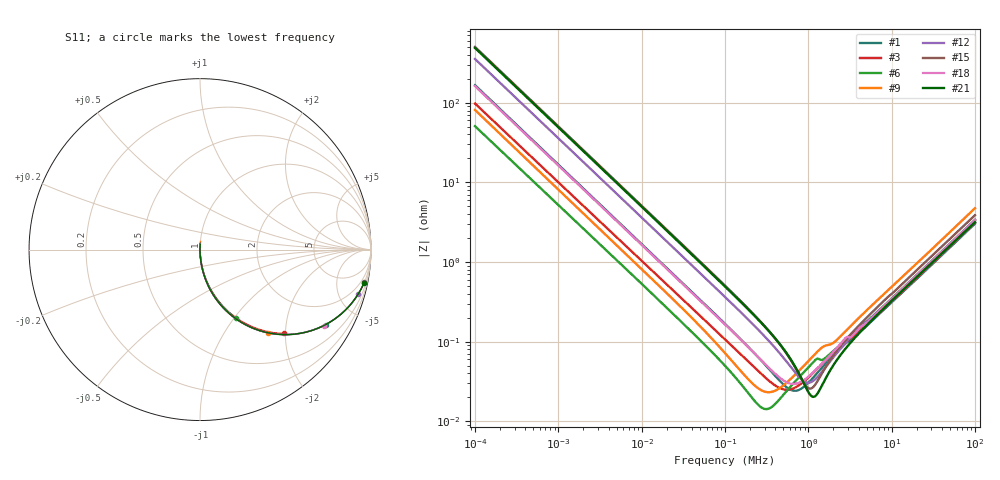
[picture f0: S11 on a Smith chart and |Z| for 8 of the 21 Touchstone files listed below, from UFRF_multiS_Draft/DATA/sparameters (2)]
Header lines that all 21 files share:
!These Parameters are Measured in Series Mode Connection
!  o--ll--o
!Port1  Port2
!  o------o
!Operation Temp=25[degC], DC Bias Voltage=0[V]
!Freq. Start=100[Hz] Stop=100[MHz], 401[Steps]
# Hz S RI R 50
!Freq.(Hz) S11(Real) S11(Imag) S21(Real) S21(Imag) S12(Real) S12(Imag) S22(Real) S22(Imag)
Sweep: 100 Hz to 100 MHz
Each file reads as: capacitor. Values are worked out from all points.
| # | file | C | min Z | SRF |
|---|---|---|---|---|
| 1 | RDEC71E106K2S1H03A_DC0V_25degC_series.s2p | 9.54 uF | 24.3 mohm | 696 kHz |
| 2 | RDEC71E226K3K1H03B_DC0V_25degC_series.s2p | 16.2 uF | 29.9 mohm | 535.2 kHz |
| 3 | RDEC71E226K3P1H03B_DC0V_25degC_series.s2p | 16.2 uF | 25 mohm | 553.7 kHz |
| 4 | RDEC71E475K2K1H03B_DC0V_25degC_series.s2p | 4.53 uF | 31.8 mohm | 976.1 kHz |
| 5 | RDEC71E475K2P1H03B_DC0V_25degC_series.s2p | 4.53 uF | 25.9 mohm | 1.028 MHz |
| 6 | RDEC71E476MWK1H03B_DC0V_25degC_series.s2p | 31.2 uF | 14.3 mohm | 322.9 kHz |
| 7 | RDEC71H106K3K1H03B_DC0V_25degC_series.s2p | 9.43 uF | 29.6 mohm | 676 kHz |
| 8 | RDEC71H106K3P1H03B_DC0V_25degC_series.s2p | 9.43 uF | 24.7 mohm | 699.8 kHz |
| 9 | RDEC71H226MWK1H03B_DC0V_25degC_series.s2p | 19.6 uF | 23.2 mohm | 349.7 kHz |
| 10 | RDEC71H475K2K1H03B_DC0V_25degC_series.s2p | 4.53 uF | 31.1 mohm | 969.4 kHz |
| 11 | RDEC71H475K2P1H03B_DC0V_25degC_series.s2p | 4.53 uF | 25.2 mohm | 1.021 MHz |
| 12 | RDEC72A475K3K1H03B_DC0V_25degC_series.s2p | 4.48 uF | 30.6 mohm | 1.001 MHz |
| 13 | RDEC72A475K3P1H03B_DC0V_25degC_series.s2p | 4.48 uF | 25.7 mohm | 1.037 MHz |
| 14 | RDEC72A475MWK1H03B_DC0V_25degC_series.s2p | 4.18 uF | 18.7 mohm | 959 kHz |
| 15 | RDER71H335K3K1H03B_DC0V_25degC_series.s2p | 3.16 uF | 25.8 mohm | 1.063 MHz |
| 16 | RDER71H335K3P1H03B_DC0V_25degC_series.s2p | 3.21 uF | 18.7 mohm | 1.118 MHz |
| 17 | RHEL81E106K3A2H03B_DC0V_25degC_series.s2p | 9.83 uF | 21.6 mohm | 729.7 kHz |
| 18 | RHEL81E106K3K1H03B_DC0V_25degC_series.s2p | 9.83 uF | 29.5 mohm | 665.8 kHz |
| 19 | RHEL81E226MWK1H03B_DC0V_25degC_series.s2p | 19 uF | 14.9 mohm | 414.3 kHz |
| 20 | RHEL81H106MWK1H03B_DC0V_25degC_series.s2p | 9.11 uF | 18 mohm | 597.4 kHz |
| 21 | RHEL81H335K3A2H03B_DC0V_25degC_series.s2p | 3.26 uF | 20.3 mohm | 1.163 MHz |
